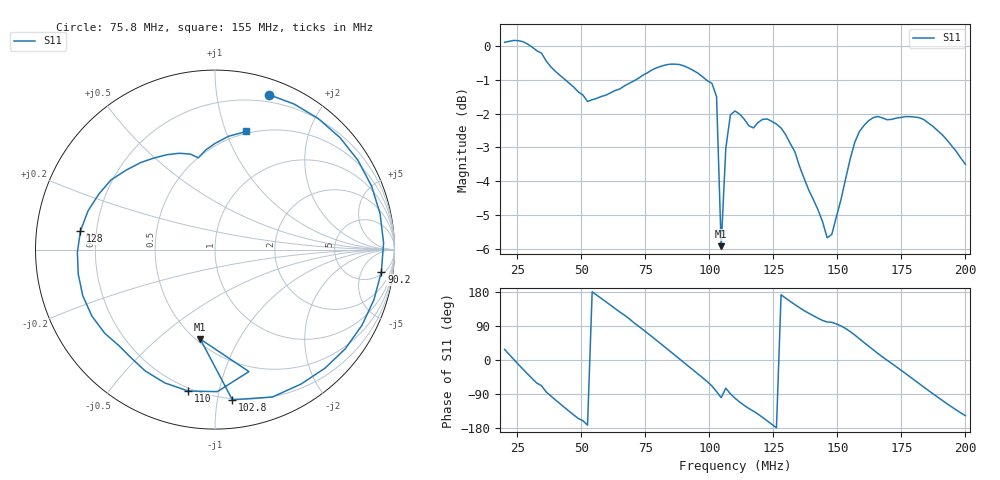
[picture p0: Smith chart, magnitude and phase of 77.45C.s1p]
# HZ S RI R 50
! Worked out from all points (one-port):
!   101 points, 20 MHz to 200 MHz, reference 50 ohm
!   lowest |S11| = -5.9 dB at 104.6 MHz (marker M1), VSWR 3.04, Z = 26.2 - j35.1 ohm
!   |S11| at or under -10 dB: nowhere
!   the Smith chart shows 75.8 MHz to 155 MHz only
!   S11 on the Smith chart (normalised r, x): 75.8 MHz: 0.13, +1.39; 90.2 MHz: 6, -12; 102.8 MHz: 0.19, -1.10; 110 MHz: 0.18, -0.81; 128 MHz: 0.14, +0.07; 155 MHz: 0.48, +1.18
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2e7  0.8969 0.474
2.54e7  0.9987 -0.2075
3.26e7  0.4772 -0.8621
3.8e7  -0.0749 -0.9302
4.34e7  -0.5164 -0.7301
5.42e7  -0.8335 0.00155
6.5e7  -0.5139 0.6956
7.04e7  -0.1395 0.8775
7.58e7  0.2983 0.864
8.3e7  0.7963 0.4976
8.84e7  0.9392 0.0379
9.02e7  0.9271 -0.1235
9.74e7  0.6133 -0.6603
1.028e8  0.0966 -0.8368
1.046e8  -0.0821 -0.4985
1.064e8  0.1892 -0.6797
1.1e8  -0.1498 -0.7879
1.208e8  -0.6856 -0.3709
1.28e8  -0.7497 0.1031
1.334e8  -0.5794 0.3883
1.46e8  -0.0932 0.5115
1.55e8  0.174 0.6582
1.604e8  0.5292 0.5504
1.658e8  0.7513 0.2349
1.73e8  0.7452 -0.24
1.784e8  0.5603 -0.5522
1.874e8  0.0066 -0.7605
2e8  -0.5602 -0.3647
